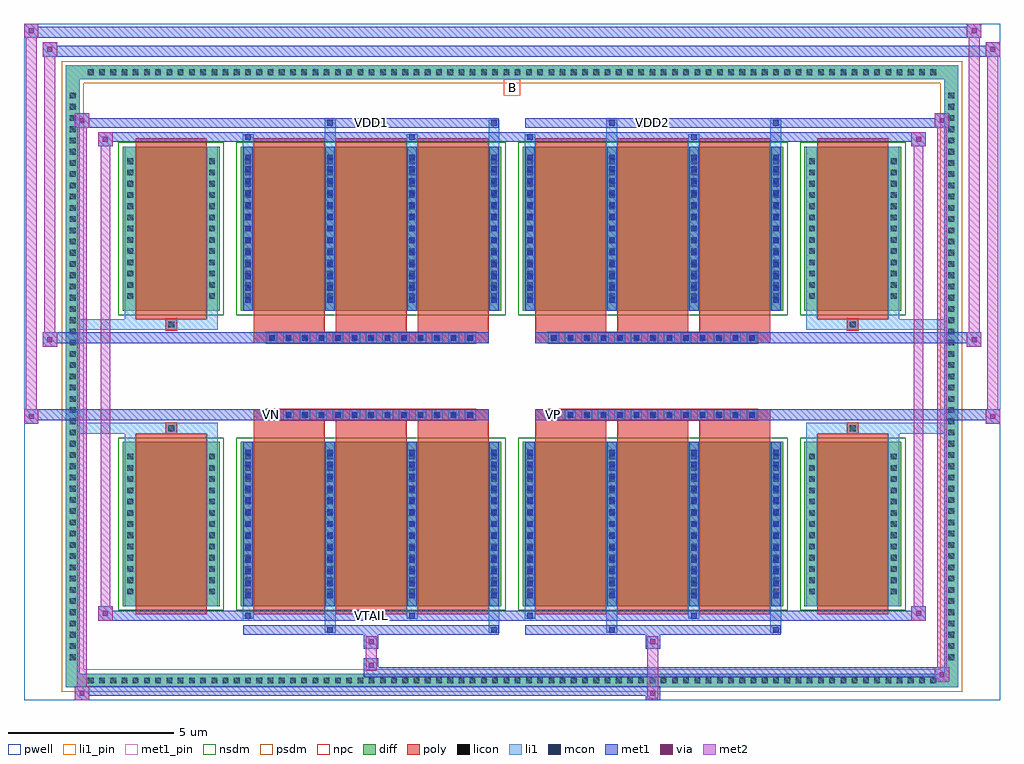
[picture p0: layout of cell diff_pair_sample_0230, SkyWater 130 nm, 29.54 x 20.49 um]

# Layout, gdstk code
import gdstk
lib = gdstk.Library(unit=1e-6, precision=5e-09)
def R(c, l, rs):  # rectangles x0, y0, x1, y1
    for r in rs: c.add(gdstk.rectangle(r[:2], r[2:], *l))
def A(c, l, x, y, w, h, nx, ny, dx, dy):  # array of equal rectangles
    R(c, l, [(x+i*dx, y+j*dy, x+i*dx+w, y+j*dy+h) for i in range(nx) for j in range(ny)])
def P(c, l, *ps):  # polygons
    for p in ps: c.add(gdstk.Polygon(p, *l))
pwell = (64, 44)
diff = (65, 20)
poly = (66, 20)
licon = (66, 44)
li1_pin = (67, 16)
li1 = (67, 20)
mcon = (67, 44)
met1_pin = (68, 16)
met1 = (68, 20)
via = (68, 44)
met2 = (69, 20)
nsdm = (93, 44)
psdm = (94, 20)
npc = (95, 20)

diff_pair_sample_0230 = lib.new_cell('diff_pair_sample_0230')
R(diff_pair_sample_0230, pwell, [(-14.77,-9.81,14.77,10.68), (-12.09,-8,-0.01,-0.8), (0.01,-8,12.09,-0.8), (-12.09,0.8,-0.01,8), (0.01,0.8,12.09,8)])
A(diff_pair_sample_0230, diff, -12.955, -9.41, 0.41, 0.41, 76, 2, 0.34, 18.41)
A(diff_pair_sample_0230, diff, -13.5, -8.705, 0.41, 0.41, 1, 51, 0, 0.34)
A(diff_pair_sample_0230, diff, 13.09, -8.705, 0.41, 0.41, 1, 51, 0, 0.34)
R(diff_pair_sample_0230, diff, [(-12.955,-9.41,12.955,-9), (-13.5,-8.705,-13.09,8.705), (13.09,-8.705,13.5,8.705), (-11.78,-6.955,-8.85,-1.985), (-8.21,-6.955,-0.32,-1.985), (0.32,-6.955,8.21,-1.985), (8.85,-6.955,11.78,-1.985), (-11.78,1.985,-8.85,6.955), (-8.21,1.985,-0.32,6.955), (0.32,1.985,8.21,6.955), (8.85,1.985,11.78,6.955), (-12.955,9,12.955,9.41)])
P(diff_pair_sample_0230, diff, [(13.5,9.41),(-13.5,9.41),(-13.5,-9),(-13.09,-9),(-13.09,9),(13.09,9),(13.09,-9),(-13.09,-9),(-13.5,-9),(-13.5,-9.41),(13.5,-9.41)])
A(diff_pair_sample_0230, poly, -7.82, -7.205, 2.15, 5.47, 3, 2, 2.48, 8.94)
A(diff_pair_sample_0230, poly, 0.71, -7.205, 2.15, 5.47, 3, 2, 2.48, 8.94)
A(diff_pair_sample_0230, poly, -7.82, -1.735, 2.15, 0.405, 3, 2, 2.48, 3.065)
A(diff_pair_sample_0230, poly, 0.71, -1.735, 2.15, 0.405, 3, 2, 2.48, 3.065)
A(diff_pair_sample_0230, poly, -7.43, -1.33, 0.33, 0.33, 13, 2, 0.5, 2.33)
A(diff_pair_sample_0230, poly, 1.1, -1.33, 0.33, 0.33, 13, 2, 0.5, 2.33)
R(diff_pair_sample_0230, poly, [(-11.39,-7.205,-9.24,-1.735), (9.24,-7.205,11.39,-1.735), (-10.48,-1.735,-10.15,-1.405), (-10.48,-1.735,-10.15,-1.405), (10.15,-1.735,10.48,-1.405), (10.15,-1.735,10.48,-1.405), (-7.82,-1.33,-0.71,-1), (0.71,-1.33,7.82,-1), (-7.82,1,-0.71,1.33), (0.71,1,7.82,1.33), (-10.48,1.405,-10.15,1.735), (-10.48,1.405,-10.15,1.735), (10.15,1.405,10.48,1.735), (10.15,1.405,10.48,1.735), (-11.39,1.735,-9.24,7.205), (9.24,1.735,11.39,7.205)])
A(diff_pair_sample_0230, licon, -12.835, -9.29, 0.17, 0.17, 76, 2, 0.34, 18.41)
A(diff_pair_sample_0230, licon, -13.38, -8.585, 0.17, 0.17, 1, 51, 0, 0.34)
A(diff_pair_sample_0230, licon, 13.21, -8.585, 0.17, 0.17, 1, 51, 0, 0.34)
A(diff_pair_sample_0230, licon, -11.64, -6.595, 0.17, 0.17, 1, 13, 0, 0.34)
A(diff_pair_sample_0230, licon, -9.16, -6.595, 0.17, 0.17, 1, 13, 0, 0.34)
A(diff_pair_sample_0230, licon, -8.07, -6.595, 0.17, 0.17, 4, 13, 2.48, 0.34)
A(diff_pair_sample_0230, licon, 0.46, -6.595, 0.17, 0.17, 4, 13, 2.48, 0.34)
A(diff_pair_sample_0230, licon, 8.99, -6.595, 0.17, 0.17, 1, 13, 0, 0.34)
A(diff_pair_sample_0230, licon, 11.47, -6.595, 0.17, 0.17, 1, 13, 0, 0.34)
A(diff_pair_sample_0230, licon, -7.35, -1.25, 0.17, 0.17, 13, 2, 0.5, 2.33)
A(diff_pair_sample_0230, licon, 1.18, -1.25, 0.17, 0.17, 13, 2, 0.5, 2.33)
A(diff_pair_sample_0230, licon, -11.64, 2.345, 0.17, 0.17, 1, 13, 0, 0.34)
A(diff_pair_sample_0230, licon, -9.16, 2.345, 0.17, 0.17, 1, 13, 0, 0.34)
A(diff_pair_sample_0230, licon, -8.07, 2.345, 0.17, 0.17, 4, 13, 2.48, 0.34)
A(diff_pair_sample_0230, licon, 0.46, 2.345, 0.17, 0.17, 4, 13, 2.48, 0.34)
A(diff_pair_sample_0230, licon, 8.99, 2.345, 0.17, 0.17, 1, 13, 0, 0.34)
A(diff_pair_sample_0230, licon, 11.47, 2.345, 0.17, 0.17, 1, 13, 0, 0.34)
R(diff_pair_sample_0230, licon, [(-10.4,-1.655,-10.23,-1.485), (10.23,-1.655,10.4,-1.485), (-10.4,1.485,-10.23,1.655), (10.23,1.485,10.4,1.655)])
R(diff_pair_sample_0230, li1_pin, [(-0.25,8.5,0.25,9)])
A(diff_pair_sample_0230, li1, -12.915, -9.37, 0.33, 0.33, 76, 2, 0.34, 18.41)
A(diff_pair_sample_0230, li1, -13.46, -8.665, 0.33, 0.33, 1, 51, 0, 0.34)
A(diff_pair_sample_0230, li1, 13.13, -8.665, 0.33, 0.33, 1, 51, 0, 0.34)
A(diff_pair_sample_0230, li1, -8.15, -6.955, 0.33, 4.97, 4, 2, 2.48, 8.94)
A(diff_pair_sample_0230, li1, 0.38, -6.955, 0.33, 4.97, 4, 2, 2.48, 8.94)
A(diff_pair_sample_0230, li1, -8.07, -6.715, 0.17, 0.17, 4, 13, 2.48, 0.36)
A(diff_pair_sample_0230, li1, -8.07, -6.715, 0.17, 4.49, 4, 2, 2.48, 8.94)
A(diff_pair_sample_0230, li1, 0.46, -6.715, 0.17, 0.17, 4, 13, 2.48, 0.36)
A(diff_pair_sample_0230, li1, 0.46, -6.715, 0.17, 4.49, 4, 2, 2.48, 8.94)
A(diff_pair_sample_0230, li1, -11.72, -6.675, 0.33, 0.33, 1, 13, 0, 0.34)
A(diff_pair_sample_0230, li1, -9.24, -6.675, 0.33, 0.33, 1, 13, 0, 0.34)
A(diff_pair_sample_0230, li1, -8.15, -6.675, 0.33, 0.33, 4, 13, 2.48, 0.34)
A(diff_pair_sample_0230, li1, 0.38, -6.675, 0.33, 0.33, 4, 13, 2.48, 0.34)
A(diff_pair_sample_0230, li1, 8.91, -6.675, 0.33, 0.33, 1, 13, 0, 0.34)
A(diff_pair_sample_0230, li1, 11.39, -6.675, 0.33, 0.33, 1, 13, 0, 0.34)
A(diff_pair_sample_0230, li1, -7.43, -1.33, 0.33, 0.33, 13, 2, 0.5, 2.33)
A(diff_pair_sample_0230, li1, 1.1, -1.33, 0.33, 0.33, 13, 2, 0.5, 2.33)
A(diff_pair_sample_0230, li1, -8.07, 2.225, 0.17, 0.17, 4, 13, 2.48, 0.36)
A(diff_pair_sample_0230, li1, 0.46, 2.225, 0.17, 0.17, 4, 13, 2.48, 0.36)
A(diff_pair_sample_0230, li1, -11.72, 2.265, 0.33, 0.33, 1, 13, 0, 0.34)
A(diff_pair_sample_0230, li1, -9.24, 2.265, 0.33, 0.33, 1, 13, 0, 0.34)
A(diff_pair_sample_0230, li1, -8.15, 2.265, 0.33, 0.33, 4, 13, 2.48, 0.34)
A(diff_pair_sample_0230, li1, 0.38, 2.265, 0.33, 0.33, 4, 13, 2.48, 0.34)
A(diff_pair_sample_0230, li1, 8.91, 2.265, 0.33, 0.33, 1, 13, 0, 0.34)
A(diff_pair_sample_0230, li1, 11.39, 2.265, 0.33, 0.33, 1, 13, 0, 0.34)
R(diff_pair_sample_0230, li1, [(-13.5,-9.41,-13.09,-9), (-13.5,-9.41,-13.09,-9), (-13.09,-9.41,13.09,-9), (13.09,-9.41,13.5,-9), (13.09,-9.41,13.5,-9), (-13.5,-9,-13.09,9), (13.09,-9,13.5,9), (-5.67,-7.76,-5.34,-6.955), (-5.59,-7.76,-5.42,-7.59), (-0.71,-7.76,-0.38,-6.955), (-0.63,-7.76,-0.46,-7.59), (2.86,-7.76,3.19,-6.955), (2.94,-7.76,3.11,-7.59), (7.82,-7.76,8.15,-6.955), (7.9,-7.76,8.07,-7.59), (-8.15,-7.33,-7.82,-6.955), (-8.07,-7.33,-7.9,-7.16), (-3.19,-7.33,-2.86,-6.955), (-3.11,-7.33,-2.94,-7.16), (0.38,-7.33,0.71,-6.955), (0.46,-7.33,0.63,-7.16), (5.34,-7.33,5.67,-6.955), (5.42,-7.33,5.59,-7.16), (-11.72,-6.955,-11.39,-1.985), (-9.24,-6.955,-8.91,-1.985), (8.91,-6.955,9.24,-1.985), (11.39,-6.955,11.72,-1.985), (-11.72,-1.985,-11.39,-1.405), (-9.24,-1.985,-8.91,-1.405), (8.91,-1.985,9.24,-1.405), (11.39,-1.985,11.72,-1.405), (-13.5,-1.735,-10.48,-1.405), (-11.72,-1.735,-10.48,-1.405), (-10.48,-1.735,-10.15,-1.405), (-10.15,-1.735,-8.91,-1.405), (8.91,-1.735,10.15,-1.405), (10.15,-1.735,10.48,-1.405), (10.15,-1.735,13.5,-1.405), (10.48,-1.735,11.72,-1.405), (-13.5,1.405,-10.48,1.735), (-11.72,1.405,-10.48,1.735), (-11.72,1.405,-11.39,1.985), (-10.48,1.405,-10.15,1.735), (-10.15,1.405,-8.91,1.735), (-9.24,1.405,-8.91,1.985), (8.91,1.405,10.15,1.735), (8.91,1.405,9.24,1.985), (10.15,1.405,10.48,1.735), (10.15,1.405,13.5,1.735), (10.48,1.405,11.72,1.735), (11.39,1.405,11.72,1.985), (-11.72,1.985,-11.39,6.955), (-9.24,1.985,-8.91,6.955), (8.91,1.985,9.24,6.955), (11.39,1.985,11.72,6.955), (-8.15,6.955,-7.82,7.33), (-5.67,6.955,-5.34,7.76), (-3.19,6.955,-2.86,7.33), (-0.71,6.955,-0.38,7.76), (0.38,6.955,0.71,7.33), (2.86,6.955,3.19,7.76), (5.34,6.955,5.67,7.33), (7.82,6.955,8.15,7.76), (-8.07,7.16,-7.9,7.33), (-3.11,7.16,-2.94,7.33), (0.46,7.16,0.63,7.33), (5.42,7.16,5.59,7.33), (-5.59,7.59,-5.42,7.76), (-0.63,7.59,-0.46,7.76), (2.94,7.59,3.11,7.76), (7.9,7.59,8.07,7.76), (-13.5,9,-13.09,9.41), (-13.5,9,-13.09,9.41), (-13.09,9,13.09,9.41), (13.09,9,13.5,9.41), (13.09,9,13.5,9.41)])
A(diff_pair_sample_0230, mcon, -8.07, -6.715, 0.17, 0.17, 4, 13, 2.48, 0.36)
A(diff_pair_sample_0230, mcon, 0.46, -6.715, 0.17, 0.17, 4, 13, 2.48, 0.36)
A(diff_pair_sample_0230, mcon, -7.35, -1.25, 0.17, 0.17, 13, 2, 0.5, 2.33)
A(diff_pair_sample_0230, mcon, 1.18, -1.25, 0.17, 0.17, 13, 2, 0.5, 2.33)
A(diff_pair_sample_0230, mcon, -8.07, 2.225, 0.17, 0.17, 4, 13, 2.48, 0.36)
A(diff_pair_sample_0230, mcon, 0.46, 2.225, 0.17, 0.17, 4, 13, 2.48, 0.36)
R(diff_pair_sample_0230, mcon, [(-5.59,-7.76,-5.42,-7.59), (-0.63,-7.76,-0.46,-7.59), (2.94,-7.76,3.11,-7.59), (7.9,-7.76,8.07,-7.59), (-8.07,-7.33,-7.9,-7.16), (-3.11,-7.33,-2.94,-7.16), (0.46,-7.33,0.63,-7.16), (5.42,-7.33,5.59,-7.16), (-8.07,7.16,-7.9,7.33), (-3.11,7.16,-2.94,7.33), (0.46,7.16,0.63,7.33), (5.42,7.16,5.59,7.33), (-5.59,7.59,-5.42,7.76), (-0.63,7.59,-0.46,7.76), (2.94,7.59,3.11,7.76), (7.9,7.59,8.07,7.76)])
R(diff_pair_sample_0230, met1_pin, [(-4.4,-7.37,-4.13,-7.1), (-7.4,-1.29,-7.13,-1.02), (1.13,-1.29,1.4,-1.02), (-4.4,7.55,-4.13,7.82), (4.13,7.55,4.4,7.82)])
A(diff_pair_sample_0230, met1, -8.13, -6.955, 0.29, 4.97, 4, 2, 2.48, 8.94)
A(diff_pair_sample_0230, met1, 0.4, -6.955, 0.29, 4.97, 4, 2, 2.48, 8.94)
A(diff_pair_sample_0230, met1, -8.13, -6.775, 0.29, 0.29, 4, 13, 2.48, 0.36)
A(diff_pair_sample_0230, met1, 0.4, -6.775, 0.29, 0.29, 4, 13, 2.48, 0.36)
A(diff_pair_sample_0230, met1, -7.41, -1.31, 0.29, 0.29, 13, 2, 0.5, 2.33)
A(diff_pair_sample_0230, met1, 1.12, -1.31, 0.29, 0.29, 13, 2, 0.5, 2.33)
A(diff_pair_sample_0230, met1, -8.13, 2.165, 0.29, 0.29, 4, 13, 2.48, 0.36)
A(diff_pair_sample_0230, met1, 0.4, 2.165, 0.29, 0.29, 4, 13, 2.48, 0.36)
R(diff_pair_sample_0230, met1, [(-13.23,-9.81,-12.8,-9.38), (4.05,-9.81,4.48,-9.38), (-13.23,-9.67,4.48,-9.38), (12.8,-9.24,13.23,-8.81), (-4.48,-9.1,13.23,-8.81), (-4.48,-8.96,-4.05,-8.53), (-4.48,-8.25,-4.05,-7.82), (4.05,-8.25,4.48,-7.82), (-8.13,-7.82,-0.4,-7.53), (-5.65,-7.82,-5.36,-7.53), (-0.69,-7.82,-0.4,-7.53), (0.4,-7.82,8.13,-7.53), (2.88,-7.82,3.17,-7.53), (7.84,-7.82,8.13,-7.53), (-12.52,-7.39,-12.09,-6.96), (-12.52,-7.39,-8.13,-7.1), (-8.13,-7.39,-7.84,-7.1), (-8.13,-7.39,-0.4,-7.1), (-3.17,-7.39,-2.88,-7.1), (-0.4,-7.39,0.4,-7.1), (0.4,-7.39,0.69,-7.1), (0.4,-7.39,8.13,-7.1), (5.36,-7.39,5.65,-7.1), (8.13,-7.39,12.52,-7.1), (12.09,-7.39,12.52,-6.96), (-14.77,-1.43,-14.34,-1), (14.34,-1.43,14.77,-1), (-14.77,-1.33,-0.71,-1), (-7.82,-1.33,-0.71,-1), (0.71,-1.33,7.82,-1), (0.71,-1.33,14.77,-1), (-14.2,0.9,-13.77,1.33), (13.77,0.9,14.2,1.33), (-14.2,1,-7.82,1.33), (-7.82,1,-0.71,1.33), (0.71,1,7.82,1.33), (7.82,1,14.2,1.33), (-12.52,6.96,-12.09,7.39), (12.09,6.96,12.52,7.39), (-12.52,7.1,-8.13,7.39), (-8.13,7.1,-7.84,7.39), (-8.13,7.1,-0.4,7.39), (-3.17,7.1,-2.88,7.39), (-0.4,7.1,0.4,7.39), (0.4,7.1,0.69,7.39), (0.4,7.1,8.13,7.39), (5.36,7.1,5.65,7.39), (8.13,7.1,12.52,7.39), (-13.23,7.53,-12.8,7.96), (-13.23,7.53,-8.13,7.82), (-8.13,7.53,-0.4,7.82), (-5.65,7.53,-5.36,7.82), (-0.69,7.53,-0.4,7.82), (0.4,7.53,8.13,7.82), (2.88,7.53,3.17,7.82), (7.84,7.53,8.13,7.82), (8.13,7.53,13.23,7.82), (12.8,7.53,13.23,7.96), (-14.2,9.68,-13.77,10.11), (-14.2,9.68,-12.09,10.01), (-12.09,9.68,12.09,10.01), (12.09,9.68,14.77,10.01), (14.34,9.68,14.77,10.11), (-14.77,10.25,-14.34,10.68), (-14.77,10.25,-12.09,10.58), (-12.09,10.25,12.09,10.58), (12.09,10.25,14.2,10.58), (13.77,10.25,14.2,10.68)])
R(diff_pair_sample_0230, via, [(-13.09,-9.67,-12.94,-9.52), (4.19,-9.67,4.34,-9.52), (12.94,-9.1,13.09,-8.95), (-4.34,-8.82,-4.19,-8.67), (-4.34,-8.11,-4.19,-7.96), (4.19,-8.11,4.34,-7.96), (-12.38,-7.25,-12.23,-7.1), (12.23,-7.25,12.38,-7.1), (-14.63,-1.29,-14.48,-1.14), (14.48,-1.29,14.63,-1.14), (-14.06,1.04,-13.91,1.19), (13.91,1.04,14.06,1.19), (-12.38,7.1,-12.23,7.25), (12.23,7.1,12.38,7.25), (-13.09,7.67,-12.94,7.82), (12.94,7.67,13.09,7.82), (-14.06,9.82,-13.91,9.97), (14.48,9.82,14.63,9.97), (-14.63,10.39,-14.48,10.54), (13.91,10.39,14.06,10.54)])
R(diff_pair_sample_0230, met2, [(-13.23,-9.81,-12.8,-9.38), (-13.16,-9.81,-12.87,7.96), (-12.87,-9.81,-12.8,-9.38), (-13.18,-9.76,-12.85,-9.43), (4.1,-9.76,4.43,-9.43), (4.1,-9.43,4.43,-8.2), (12.8,-9.24,13.23,-8.81), (12.87,-9.24,13.16,7.96), (13.16,-9.24,13.23,-8.81), (12.85,-9.19,13.18,-8.86), (-4.43,-8.91,-4.1,-8.58), (-4.43,-8.58,-4.1,-8.2), (-4.43,-8.2,-4.1,-7.87), (4.1,-8.2,4.43,-7.87), (-12.52,-7.39,-12.09,-6.96), (-12.45,-7.39,-12.16,7.39), (-12.16,-7.39,-12.09,-6.96), (12.09,-7.39,12.52,-6.96), (12.16,-7.39,12.45,7.39), (12.45,-7.39,12.52,-6.96), (-12.47,-7.34,-12.14,-7.01), (12.14,-7.34,12.47,-7.01), (-14.77,-1.43,-14.34,-1), (-14.72,-1.43,-14.39,10.68), (-14.39,-1.43,-14.34,-1), (14.34,-1.43,14.77,-1), (14.39,-1.43,14.72,10.11), (14.72,-1.43,14.77,-1), (-14.72,-1.38,-14.39,-1.05), (14.39,-1.38,14.72,-1.05), (-14.2,0.9,-13.77,1.33), (-14.15,0.9,-13.82,10.11), (-13.82,0.9,-13.77,1.33), (13.77,0.9,14.2,1.33), (13.82,0.9,14.15,10.68), (14.15,0.9,14.2,1.33), (-14.15,0.95,-13.82,1.28), (13.82,0.95,14.15,1.28), (-12.52,6.96,-12.09,7.39), (-12.16,6.96,-12.09,7.39), (12.09,6.96,12.52,7.39), (12.45,6.96,12.52,7.39), (-12.47,7.01,-12.14,7.34), (12.14,7.01,12.47,7.34), (-13.23,7.53,-12.8,7.96), (-12.87,7.53,-12.8,7.96), (12.8,7.53,13.23,7.96), (13.16,7.53,13.23,7.96), (-13.18,7.58,-12.85,7.91), (12.85,7.58,13.18,7.91), (-14.2,9.68,-13.77,10.11), (-13.82,9.68,-13.77,10.11), (14.34,9.68,14.77,10.11), (14.72,9.68,14.77,10.11), (-14.15,9.73,-13.82,10.06), (14.39,9.73,14.72,10.06), (-14.77,10.25,-14.34,10.68), (-14.39,10.25,-14.34,10.68), (13.77,10.25,14.2,10.68), (14.15,10.25,14.2,10.68), (-14.72,10.3,-14.39,10.63), (13.82,10.3,14.15,10.63)])
R(diff_pair_sample_0230, nsdm, [(-11.91,-7.085,-8.72,-1.855), (-8.34,-7.085,-0.19,-1.855), (0.19,-7.085,8.34,-1.855), (8.72,-7.085,11.91,-1.855), (-11.91,1.855,-8.72,7.085), (-8.34,1.855,-0.19,7.085), (0.19,1.855,8.34,7.085), (8.72,1.855,11.91,7.085)])
P(diff_pair_sample_0230, psdm, [(13.63,9.54),(-13.63,9.54),(-13.63,-8.87),(-12.96,-8.87),(-12.96,8.87),(12.96,8.87),(12.96,-8.87),(-12.96,-8.87),(-13.63,-8.87),(-13.63,-9.54),(13.63,-9.54)])
A(diff_pair_sample_0230, npc, -7.45, -1.35, 0.37, 0.37, 13, 2, 0.5, 2.33)
A(diff_pair_sample_0230, npc, 1.08, -1.35, 0.37, 0.37, 13, 2, 0.5, 2.33)
R(diff_pair_sample_0230, npc, [(-10.5,-1.755,-10.13,-1.385), (10.13,-1.755,10.5,-1.385), (-7.45,-1.35,-6.58,-0.98), (-7.45,-1.35,-6.58,-0.98), (-6.95,-1.35,-6.08,-0.98), (-6.95,-1.35,-6.08,-0.98), (-6.45,-1.35,-5.58,-0.98), (-6.45,-1.35,-5.58,-0.98), (-5.95,-1.35,-5.08,-0.98), (-5.95,-1.35,-5.08,-0.98), (-5.45,-1.35,-4.58,-0.98), (-5.45,-1.35,-4.58,-0.98), (-4.95,-1.35,-4.08,-0.98), (-4.95,-1.35,-4.08,-0.98), (-4.45,-1.35,-3.58,-0.98), (-4.45,-1.35,-3.58,-0.98), (-3.95,-1.35,-3.08,-0.98), (-3.95,-1.35,-3.08,-0.98), (-3.45,-1.35,-2.58,-0.98), (-3.45,-1.35,-2.58,-0.98), (-2.95,-1.35,-2.08,-0.98), (-2.95,-1.35,-2.08,-0.98), (-2.45,-1.35,-1.58,-0.98), (-2.45,-1.35,-1.58,-0.98), (-1.95,-1.35,-1.08,-0.98), (-1.95,-1.35,-1.08,-0.98), (1.08,-1.35,1.95,-0.98), (1.08,-1.35,1.95,-0.98), (1.58,-1.35,2.45,-0.98), (1.58,-1.35,2.45,-0.98), (2.08,-1.35,2.95,-0.98), (2.08,-1.35,2.95,-0.98), (2.58,-1.35,3.45,-0.98), (2.58,-1.35,3.45,-0.98), (3.08,-1.35,3.95,-0.98), (3.08,-1.35,3.95,-0.98), (3.58,-1.35,4.45,-0.98), (3.58,-1.35,4.45,-0.98), (4.08,-1.35,4.95,-0.98), (4.08,-1.35,4.95,-0.98), (4.58,-1.35,5.45,-0.98), (4.58,-1.35,5.45,-0.98), (5.08,-1.35,5.95,-0.98), (5.08,-1.35,5.95,-0.98), (5.58,-1.35,6.45,-0.98), (5.58,-1.35,6.45,-0.98), (6.08,-1.35,6.95,-0.98), (6.08,-1.35,6.95,-0.98), (6.58,-1.35,7.45,-0.98), (6.58,-1.35,7.45,-0.98), (-7.45,0.98,-6.58,1.35), (-7.45,0.98,-6.58,1.35), (-6.95,0.98,-6.08,1.35), (-6.95,0.98,-6.08,1.35), (-6.45,0.98,-5.58,1.35), (-6.45,0.98,-5.58,1.35), (-5.95,0.98,-5.08,1.35), (-5.95,0.98,-5.08,1.35), (-5.45,0.98,-4.58,1.35), (-5.45,0.98,-4.58,1.35), (-4.95,0.98,-4.08,1.35), (-4.95,0.98,-4.08,1.35), (-4.45,0.98,-3.58,1.35), (-4.45,0.98,-3.58,1.35), (-3.95,0.98,-3.08,1.35), (-3.95,0.98,-3.08,1.35), (-3.45,0.98,-2.58,1.35), (-3.45,0.98,-2.58,1.35), (-2.95,0.98,-2.08,1.35), (-2.95,0.98,-2.08,1.35), (-2.45,0.98,-1.58,1.35), (-2.45,0.98,-1.58,1.35), (-1.95,0.98,-1.08,1.35), (-1.95,0.98,-1.08,1.35), (1.08,0.98,1.95,1.35), (1.08,0.98,1.95,1.35), (1.58,0.98,2.45,1.35), (1.58,0.98,2.45,1.35), (2.08,0.98,2.95,1.35), (2.08,0.98,2.95,1.35), (2.58,0.98,3.45,1.35), (2.58,0.98,3.45,1.35), (3.08,0.98,3.95,1.35), (3.08,0.98,3.95,1.35), (3.58,0.98,4.45,1.35), (3.58,0.98,4.45,1.35), (4.08,0.98,4.95,1.35), (4.08,0.98,4.95,1.35), (4.58,0.98,5.45,1.35), (4.58,0.98,5.45,1.35), (5.08,0.98,5.95,1.35), (5.08,0.98,5.95,1.35), (5.58,0.98,6.45,1.35), (5.58,0.98,6.45,1.35), (6.08,0.98,6.95,1.35), (6.08,0.98,6.95,1.35), (6.58,0.98,7.45,1.35), (6.58,0.98,7.45,1.35), (-10.5,1.385,-10.13,1.755), (10.13,1.385,10.5,1.755)])
diff_pair_sample_0230.add(gdstk.Label('VTAIL', (-4.265,-7.235), layer=68, texttype=5))
diff_pair_sample_0230.add(gdstk.Label('VN', (-7.265,-1.155), layer=68, texttype=5))
diff_pair_sample_0230.add(gdstk.Label('VP', (1.265,-1.155), layer=68, texttype=5))
diff_pair_sample_0230.add(gdstk.Label('B', (0,8.75), layer=67, texttype=5))
diff_pair_sample_0230.add(gdstk.Label('VDD2', (4.265,7.685), layer=68, texttype=5))
diff_pair_sample_0230.add(gdstk.Label('VDD1', (-4.265,7.685), layer=68, texttype=5))

lib.write_gds('diff_pair_sample_0230.gds')
